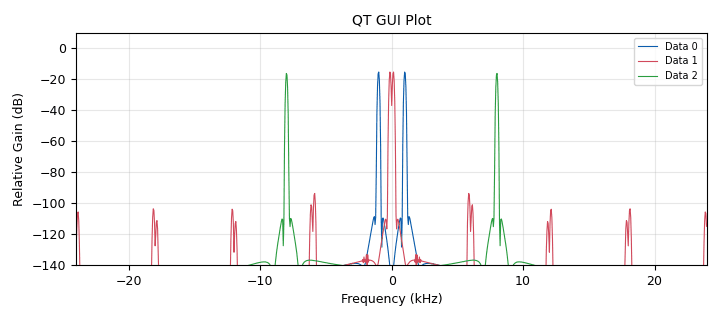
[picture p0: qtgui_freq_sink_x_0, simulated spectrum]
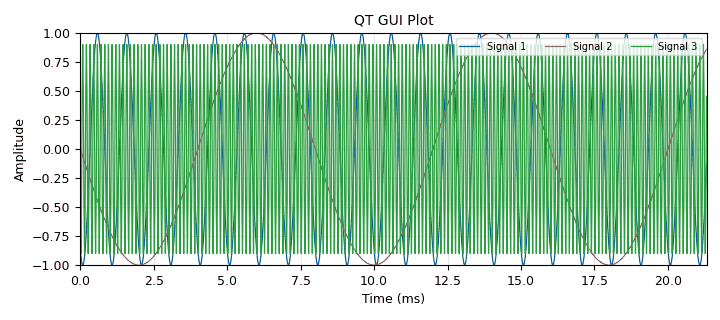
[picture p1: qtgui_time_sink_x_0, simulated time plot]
options:
  parameters:
    generate_options: qt_gui
    id: Practica_2_L1B
    output_language: python
    title: Practica_2_L1B
  states: {}

blocks:
- name: samp_rate
  id: variable
  parameters:
    value: '48000'
  states: {}
- name: analog_sig_source_x_0
  id: analog_sig_source_x
  parameters:
    amp: '1'
    freq: '1000'
    offset: '0'
    phase: '0'
    samp_rate: samp_rate
    type: float
    waveform: analog.GR_COS_WAVE
  states: {}
- name: analog_sig_source_x_1
  id: analog_sig_source_x
  parameters:
    amp: '1'
    freq: '1000'
    offset: '0'
    phase: '0'
    samp_rate: samp_rate
    type: float
    waveform: analog.GR_COS_WAVE
  states: {}
- name: analog_sig_source_x_2
  id: analog_sig_source_x
  parameters:
    amp: '1'
    freq: '1000'
    offset: '0'
    phase: '0'
    samp_rate: samp_rate
    type: float
    waveform: analog.GR_COS_WAVE
  states: {}
- name: blocks_throttle_0
  id: blocks_throttle
  parameters:
    samples_per_second: samp_rate
    type: float
  states: {}
- name: qtgui_freq_sink_x_0
  id: qtgui_freq_sink_x
  parameters:
    bw: '48000'
    fc: '0'
    fftsize: '1024'
    name: 'QT GUI Plot '
    nconnections: '3'
    type: float
    wintype: firdes.WIN_BLACKMAN_hARRIS
  states: {}
- name: qtgui_time_sink_x_0
  id: qtgui_time_sink_x
  parameters:
    name: QT GUI Plot
    nconnections: '3'
    size: '1024'
    srate: samp_rate
    type: float
  states: {}
- name: rational_resampler_xxx_0
  id: rational_resampler_xxx
  parameters:
    decim: '1'
    fbw: '0.1'
    interp: '8'
    taps: ''
    type: fff
  states: {}
- name: rational_resampler_xxx_1
  id: rational_resampler_xxx
  parameters:
    decim: '1'
    fbw: '0.1'
    interp: '1'
    taps: ''
    type: fff
  states: {}
- name: rational_resampler_xxx_2
  id: rational_resampler_xxx
  parameters:
    decim: '8'
    fbw: '0.1'
    interp: '1'
    taps: ''
    type: fff
  states: {}

connections:
- [analog_sig_source_x_0, '0', rational_resampler_xxx_1, '0']
- [analog_sig_source_x_1, '0', rational_resampler_xxx_0, '0']
- [analog_sig_source_x_2, '0', rational_resampler_xxx_2, '0']
- [blocks_throttle_0, '0', qtgui_freq_sink_x_0, '0']
- [blocks_throttle_0, '0', qtgui_time_sink_x_0, '0']
- [rational_resampler_xxx_0, '0', qtgui_freq_sink_x_0, '1']
- [rational_resampler_xxx_0, '0', qtgui_time_sink_x_0, '1']
- [rational_resampler_xxx_1, '0', blocks_throttle_0, '0']
- [rational_resampler_xxx_2, '0', qtgui_freq_sink_x_0, '2']
- [rational_resampler_xxx_2, '0', qtgui_time_sink_x_0, '2']

metadata:
  file_format: 1
